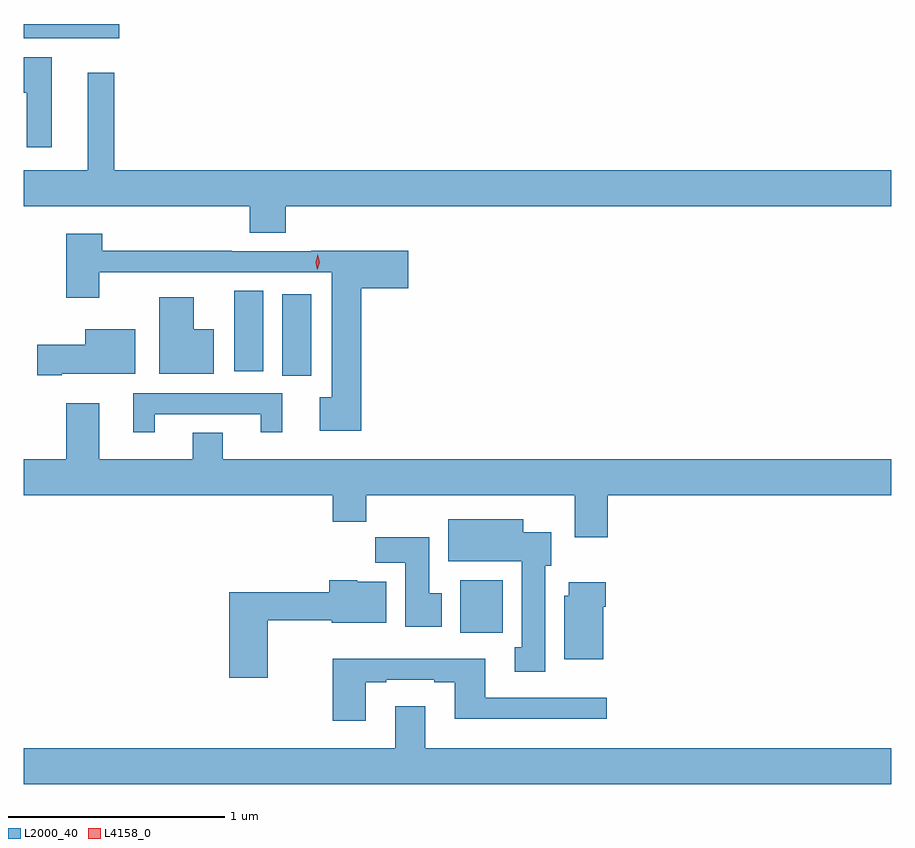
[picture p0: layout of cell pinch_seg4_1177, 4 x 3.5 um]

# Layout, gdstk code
import gdstk
lib = gdstk.Library(unit=1e-6, precision=1e-09)
def R(c, l, rs):  # rectangles x0, y0, x1, y1
    for r in rs: c.add(gdstk.rectangle(r[:2], r[2:], *l))
def P(c, l, *ps):  # polygons
    for p in ps: c.add(gdstk.Polygon(p, *l))
L2000_40 = (2000, 40)
L4158_0 = (4158, 0)

pinch_seg4_1177 = lib.new_cell('pinch_seg4_1177')
R(pinch_seg4_1177, L2000_40, [(546.239,776.204,546.436,776.446), (545.42,777.39,545.554,777.766), (545.198,777.411,545.332,777.782), (544.227,778.946,544.669,779.011)])
P(pinch_seg4_1177, L2000_40, [(544.357,778.858),(544.227,778.858),(544.227,778.694),(544.241,778.694),(544.241,778.443),(544.357,778.443)],
  [(545.435,778.172),(548.227,778.172),(548.227,778.336),(544.645,778.336),(544.645,778.786),(544.523,778.786),(544.523,778.336),(544.227,778.336),(544.227,778.172),(545.27,778.172),(545.27,778.048),(545.435,778.048)],
  [(545.783,777.794),(546.001,777.794),(546.001,777.965),(545.552,777.965),(545.552,777.963),(545.186,777.963),(545.186,777.965),(544.589,777.965),(544.589,778.045),(544.424,778.045),(544.424,777.75),(544.576,777.75),(544.576,777.867),(545.648,777.867),(545.648,777.29),(545.592,777.29),(545.592,777.137),(545.783,777.137)],
  [(545.104,777.604),(545.011,777.604),(545.011,777.751),(544.853,777.751),(544.853,777.398),(545.104,777.398)],
  [(544.402,777.398),(544.741,777.398),(544.741,777.604),(544.511,777.604),(544.511,777.533),(544.29,777.533),(544.29,777.391),(544.402,777.391)],
  [(544.831,777.213),(545.321,777.213),(545.321,777.129),(545.419,777.129),(545.419,777.309),(544.733,777.309),(544.733,777.129),(544.831,777.129)],
  [(546.92,776.84),(548.227,776.84),(548.227,777.004),(545.146,777.004),(545.146,777.128),(545.006,777.128),(545.006,777.004),(544.576,777.004),(544.576,777.262),(544.424,777.262),(544.424,777.004),(544.227,777.004),(544.227,776.84),(545.651,776.84),(545.651,776.716),(545.807,776.716),(545.807,776.84),(546.767,776.84),(546.767,776.646),(546.92,776.646)],
  [(546.631,776.514),(546.658,776.514),(546.658,776.668),(546.529,776.668),(546.529,776.728),(546.185,776.728),(546.185,776.534),(546.524,776.534),(546.524,776.138),(546.491,776.138),(546.491,776.025),(546.631,776.025)],
  [(546.154,776.388),(546.097,776.388),(546.097,776.646),(545.848,776.646),(545.848,776.528),(545.987,776.528),(545.987,776.232),(546.154,776.232)],
  [(545.352,776.263),(545.648,776.263),(545.648,776.252),(545.899,776.252),(545.899,776.44),(545.766,776.44),(545.766,776.446),(545.636,776.446),(545.636,776.392),(545.174,776.392),(545.174,775.998),(545.352,775.998)],
  [(546.898,776.324),(546.911,776.324),(546.911,776.437),(546.74,776.437),(546.74,776.376),(546.719,776.376),(546.719,776.084),(546.898,776.084)],
  [(545.803,775.977),(545.899,775.977),(545.899,775.989),(546.119,775.989),(546.119,775.977),(546.215,775.977),(546.215,775.808),(546.916,775.808),(546.916,775.905),(546.355,775.905),(546.355,776.086),(545.651,776.086),(545.651,775.8),(545.803,775.8)],
  [(548.227,775.672),(546.079,775.672),(546.079,775.867),(545.939,775.867),(545.939,775.672),(544.227,775.672),(544.227,775.508),(548.227,775.508)])
P(pinch_seg4_1177, L4158_0, [(545.581,777.878),(545.581,777.878),(545.573,777.914),(545.584,777.95),(545.584,777.95),(545.584,777.95),(545.593,777.914),(545.581,777.878)])

lib.write_gds('pinch_seg4_1177.gds')
